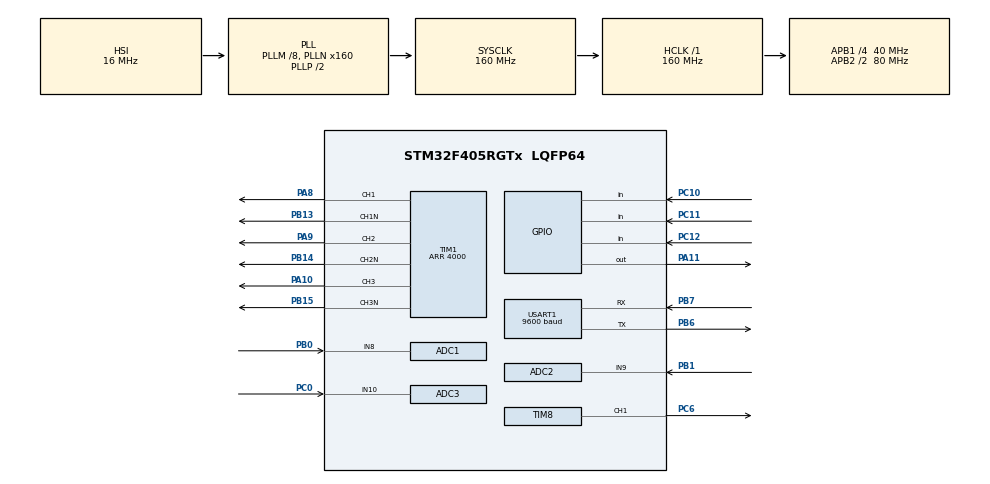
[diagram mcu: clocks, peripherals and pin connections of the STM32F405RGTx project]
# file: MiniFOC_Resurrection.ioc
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ADC1.Channel-1\#ChannelRegularConversion=ADC_CHANNEL_8
ADC1.DMAContinuousRequests=ENABLE
ADC1.DiscontinuousConvMode=DISABLE
ADC1.ExternalTrigConv=ADC_EXTERNALTRIGCONV_T8_CC1
ADC1.Mode=ADC_TRIPLEMODE_REGSIMULT
ADC1.NbrOfConversion=1
ADC1.NbrOfConversionFlag=1
ADC1.Rank-1\#ChannelRegularConversion=1
ADC1.SamplingTime-1\#ChannelRegularConversion=ADC_SAMPLETIME_28CYCLES
ADC1.ScanConvMode=ENABLE
ADC1.master=1
ADC2.Channel-1\#ChannelRegularConversion=ADC_CHANNEL_9
ADC2.DMAAccessMode=ADC_DMAACCESSMODE_1
ADC2.DMAContinuousRequests=ENABLE
ADC2.Mode=ADC_TRIPLEMODE_REGSIMULT
ADC2.NbrOfConversionFlag=1
ADC2.Rank-1\#ChannelRegularConversion=1
ADC2.SamplingTime-1\#ChannelRegularConversion=ADC_SAMPLETIME_28CYCLES
ADC2.ScanConvMode=ENABLE
ADC3.Channel-4\#ChannelRegularConversion=ADC_CHANNEL_10
ADC3.DMAAccessMode=ADC_DMAACCESSMODE_1
ADC3.DMAContinuousRequests=ENABLE
ADC3.Mode=ADC_TRIPLEMODE_REGSIMULT
ADC3.NbrOfConversionFlag=1
ADC3.Rank-4\#ChannelRegularConversion=1
ADC3.SamplingTime-4\#ChannelRegularConversion=ADC_SAMPLETIME_28CYCLES
ADC3.ScanConvMode=ENABLE
Dma.ADC1.0.Direction=DMA_PERIPH_TO_MEMORY
Dma.ADC1.0.FIFOMode=DMA_FIFOMODE_DISABLE
Dma.ADC1.0.Instance=DMA2_Stream0
Dma.ADC1.0.MemDataAlignment=DMA_MDATAALIGN_HALFWORD
Dma.ADC1.0.MemInc=DMA_MINC_ENABLE
Dma.ADC1.0.Mode=DMA_CIRCULAR
Dma.ADC1.0.PeriphDataAlignment=DMA_PDATAALIGN_HALFWORD
Dma.ADC1.0.PeriphInc=DMA_PINC_DISABLE
Dma.ADC1.0.Priority=DMA_PRIORITY_HIGH
Dma.ADC2.1.Direction=DMA_PERIPH_TO_MEMORY
Dma.ADC2.1.FIFOMode=DMA_FIFOMODE_DISABLE
Dma.ADC2.1.Instance=DMA2_Stream2
Dma.ADC2.1.MemDataAlignment=DMA_MDATAALIGN_HALFWORD
Dma.ADC2.1.MemInc=DMA_MINC_ENABLE
Dma.ADC2.1.Mode=DMA_CIRCULAR
Dma.ADC2.1.PeriphDataAlignment=DMA_PDATAALIGN_HALFWORD
Dma.ADC2.1.PeriphInc=DMA_PINC_DISABLE
Dma.ADC2.1.Priority=DMA_PRIORITY_HIGH
Dma.ADC3.2.Direction=DMA_PERIPH_TO_MEMORY
Dma.ADC3.2.FIFOMode=DMA_FIFOMODE_DISABLE
Dma.ADC3.2.Instance=DMA2_Stream1
Dma.ADC3.2.MemDataAlignment=DMA_MDATAALIGN_HALFWORD
Dma.ADC3.2.MemInc=DMA_MINC_ENABLE
Dma.ADC3.2.Mode=DMA_CIRCULAR
Dma.ADC3.2.PeriphDataAlignment=DMA_PDATAALIGN_HALFWORD
Dma.ADC3.2.PeriphInc=DMA_PINC_DISABLE
Dma.ADC3.2.Priority=DMA_PRIORITY_HIGH
Dma.Request0=ADC1
Dma.Request1=ADC2
Dma.Request2=ADC3
Mcu.Family=STM32F4
Mcu.Name=STM32F405RGTx
Mcu.Package=LQFP64
NVIC.DMA2_Stream0_IRQn=true\:0\:0\:false\:false\:true\:false\:true\:true
NVIC.DMA2_Stream1_IRQn=true\:0\:0\:false\:false\:true\:false\:true\:true
NVIC.DMA2_Stream2_IRQn=true\:0\:0\:false\:false\:true\:false\:true\:true
NVIC.PriorityGroup=NVIC_PRIORITYGROUP_4
NVIC.TIM1_TRG_COM_TIM11_IRQn=true\:0\:0\:false\:false\:true\:true\:true\:true
NVIC.TIM8_CC_IRQn=true\:0\:0\:false\:false\:true\:true\:true\:true
NVIC.TIM8_TRG_COM_TIM14_IRQn=true\:0\:0\:false\:false\:true\:true\:true\:true
NVIC.USART1_IRQn=true\:0\:0\:false\:false\:true\:true\:true\:true
PA10.Signal=S_TIM1_CH3
PA11.Signal=GPIO_Output
PA13.Mode=Serial_Wire
PA13.Signal=SYS_JTMS-SWDIO
PA14.Mode=Serial_Wire
PA14.Signal=SYS_JTCK-SWCLK
PA8.Signal=S_TIM1_CH1
PA9.Signal=S_TIM1_CH2
PB0.Signal=ADCx_IN8
PB1.Signal=ADCx_IN9
PB13.Mode=PWM Generation1 CH1 CH1N
PB13.Signal=TIM1_CH1N
PB14.Mode=PWM Generation2 CH2 CH2N
PB14.Signal=TIM1_CH2N
PB15.Mode=PWM Generation3 CH3 CH3N
PB15.Signal=TIM1_CH3N
PB6.Mode=Asynchronous
PB6.Signal=USART1_TX
PB7.Mode=Asynchronous
PB7.Signal=USART1_RX
PC0.Signal=ADCx_IN10
PC10.Signal=GPIO_Input
PC11.Signal=GPIO_Input
PC12.Signal=GPIO_Input
PC6.Signal=S_TIM8_CH1
PH0-OSC_IN.Mode=HSE-External-Oscillator
PH0-OSC_IN.Signal=RCC_OSC_IN
PH1-OSC_OUT.Mode=HSE-External-Oscillator
PH1-OSC_OUT.Signal=RCC_OSC_OUT
ProjectManager.HeapSize=0x200
ProjectManager.StackSize=0x400
ProjectManager.TargetToolchain=STM32CubeIDE
RCC.48MHZClocksFreq_Value=80000000
RCC.AHBFreq_Value=160000000
RCC.APB1CLKDivider=RCC_HCLK_DIV4
RCC.APB1Freq_Value=40000000
RCC.APB1TimFreq_Value=80000000
RCC.APB2CLKDivider=RCC_HCLK_DIV2
RCC.APB2Freq_Value=80000000
RCC.APB2TimFreq_Value=160000000
RCC.CortexFreq_Value=160000000
RCC.HCLKFreq_Value=160000000
RCC.HSE_VALUE=8000000
RCC.HSI_VALUE=16000000
RCC.LSE_VALUE=32768
RCC.PLLM=8
RCC.PLLN=160
RCC.SYSCLKFreq_VALUE=160000000
RCC.SYSCLKSource=RCC_SYSCLKSOURCE_PLLCLK
RCC.VCOOutputFreq_Value=320000000
SH.ADCx_IN10.0=ADC3_IN10,IN10
SH.ADCx_IN8.0=ADC1_IN8,IN8
SH.ADCx_IN9.0=ADC2_IN9,IN9
SH.S_TIM1_CH1.0=TIM1_CH1,PWM Generation1 CH1 CH1N
SH.S_TIM1_CH2.0=TIM1_CH2,PWM Generation2 CH2 CH2N
SH.S_TIM1_CH3.0=TIM1_CH3,PWM Generation3 CH3 CH3N
SH.S_TIM8_CH1.0=TIM8_CH1,PWM Generation1 CH1
TIM1.Channel-PWM\ Generation1\ CH1\ CH1N=TIM_CHANNEL_1
TIM1.Channel-PWM\ Generation2\ CH2\ CH2N=TIM_CHANNEL_2
TIM1.Channel-PWM\ Generation3\ CH3\ CH3N=TIM_CHANNEL_3
TIM1.CounterMode=TIM_COUNTERMODE_CENTERALIGNED1
TIM1.DeadTime=100
TIM1.Period=4000
TIM1.Pulse-PWM\ Generation1\ CH1\ CH1N=2000
TIM1.Pulse-PWM\ Generation2\ CH2\ CH2N=2000
TIM1.Pulse-PWM\ Generation3\ CH3\ CH3N=2000
TIM1.RepetitionCounter=1
TIM1.TIM_MasterOutputTrigger=TIM_TRGO_UPDATE
TIM1.TIM_MasterSlaveMode=TIM_MASTERSLAVEMODE_ENABLE
TIM2.Prescaler=800
TIM8.AutoReloadPreload=TIM_AUTORELOAD_PRELOAD_ENABLE
TIM8.AutomaticOutput=TIM_AUTOMATICOUTPUT_DISABLE
TIM8.Channel-PWM\ Generation1\ CH1=TIM_CHANNEL_1
TIM8.OCMode_PWM-PWM\ Generation1\ CH1=TIM_OCMODE_PWM2
TIM8.Pulse-PWM\ Generation1\ CH1=4000
TIM8.RepetitionCounter=1
TIM8.TIM_MasterOutputTrigger=TIM_TRGO_RESET
TIM8.TIM_MasterSlaveMode=TIM_MASTERSLAVEMODE_DISABLE
USART1.BaudRate=9600
USART1.VirtualMode=VM_ASYNC
VP_TIM1_VS_ClockSourceINT.Mode=Internal
VP_TIM2_VS_ClockSourceINT.Mode=Internal
VP_TIM8_VS_ClockSourceINT.Mode=Internal
VP_TIM8_VS_ClockSourceITR.Mode=TriggerSource_ITR0
VP_TIM8_VS_ControllerModeReset.Mode=Reset Mode
board=custom

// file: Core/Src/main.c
/* USER CODE BEGIN Header */
/**
 ******************************************************************************
 * @file           : main.c
 * @brief          : Main program body
 ******************************************************************************
 * @attention
 *
 * Copyright (c) 2024 STMicroelectronics.
 * All rights reserved.
 *
 * This software is licensed under terms that can be found in the LICENSE file
 * in the root directory of this software component.
 * If no LICENSE file comes with this software, it is provided AS-IS.
 *
 ******************************************************************************
 */
/* USER CODE END Header */
#include "main.h"

/* USER CODE BEGIN Includes */

#include "math.h"
//#include "stdio.h"

#define PI	3.14159265f

#define s8	int8_t
#define u8	uint8_t
#define u16	uint16_t
#define s32	int32_t
#define u32	uint32_t
#define false 0
#define true 1

#define LIMIT(val, min, max)	(val > max ? max : (val < min) ? min : val)

/* USER CODE END Includes */

ADC_HandleTypeDef hadc1;
ADC_HandleTypeDef hadc2;
ADC_HandleTypeDef hadc3;
DMA_HandleTypeDef hdma_adc1;
DMA_HandleTypeDef hdma_adc2;
DMA_HandleTypeDef hdma_adc3;

TIM_HandleTypeDef htim1;
TIM_HandleTypeDef htim2;
TIM_HandleTypeDef htim8;

UART_HandleTypeDef huart1;

/* USER CODE BEGIN PV */

u16 adcResult[3] = { 0, 0, 0 };
volatile s32 throttle = 0;

// FOC stuff
volatile float targetCurrent = 0;
volatile float vd = 0;
volatile float vq = 0;
volatile float iTermD = 0; // Integrator values for PI controllers
volatile float iTermQ = 0;

volatile float eRPS = 0;
volatile u8 hallError = false;
volatile u8 interpolating = false;
volatile s8 direction = 0;

volatile int lastHalls = 0;

//volatile float rotorAngle = 0;
volatile int commutationTimer = 0;

volatile float id, iq;

volatile int focLoopTimer = 0;

/* USER CODE END PV */

void SystemClock_Config(void);
static void MX_GPIO_Init(void);
static void MX_DMA_Init(void);
static void MX_TIM1_Init(void);
static void MX_USART1_UART_Init(void);
static void MX_ADC3_Init(void);
static void MX_TIM2_Init(void);
static void MX_ADC1_Init(void);
static void MX_ADC2_Init(void);
static void MX_TIM8_Init(void);

/* USER CODE BEGIN 0 */

u8 rxData[10];

void HAL_UART_RxCpltCallback(UART_HandleTypeDef *huart)
{
	//uint8_t test = '1';
	//HAL_UART_Transmit(&huart1, rxData, 1, HAL_MAX_DELAY);

	HAL_UART_Receive_IT(huart, rxData, 1);
}

float DegToRads(float deg)
{
	return deg/180.0f*PI;
}

float Limit(float value, float min, float max)
{
	if (value < min) return min;
	if (value > max) return max;
	return value;
}

void HAL_ADC_ConvCpltCallback(ADC_HandleTypeDef* hadc)
{
	int start = TIM8->CNT; // Timing this loop

	// Statically allocate variables for efficiency
	static float rotorAngle, ia, ib, ic, iAlpha, iBeta, cosAngle, sinAngle, Ki, dError, qError, pTermD, pTermQ, vAlpha, vBeta, va, vb, vc;
	static s32 shuntB, shuntC;

	// Conversion Complete & DMA Transfer Complete As Well
	shuntC = (s32)adcResult[0]-2050; // Should be 2048 but seems to have small offset
	shuntB = (s32)adcResult[1]-2050;
	throttle = adcResult[2]>>4;

	// Rotor angle estimation
	// Hall sensor transitions, 1 means forwards (angle increasing), -1 means backwards, 0 means invalid
	static s8 transitions[64] =
			// 000 001 010 011 100 101 110 111 <- Low bits (last hall)
	{		0,  0,  0,  0,  0,  0,  0,  0,  // 000 <- high bits (new hall)
			0,  0,  0, -1,  0,  1,  0,  0,  // 001
			0,  0,  0,  1,  0,  0, -1,  0,  // 010
			0,  1, -1,  0,  0,  0,  0,  0,  // 011
			0,  0,  0,  0,  0, -1,  1,  0,  // 100
			0, -1,  0,  0,  1,  0,  0,  0,  // 101
			0,  0,  1,  0, -1,  0,  0,  0,  // 110
			0,  0,  0,  0,  0,  0,  0,  0 };// 111

	//u16 halls = (GPIO_ReadInputData(GPIOC) & 0b1110000000000)>>10; // Sensor order is CBA
	int halls = (GPIOC->IDR & 0b1110000000000)>>10; // Sensor order is CBA
	if (halls != lastHalls)
	{
		commutationTimer = TIM2->CNT;
		TIM2->CNT = 0;

		u8 index = (halls<<3)+lastHalls;
		direction = transitions[index];

		interpolating = false;
		if (commutationTimer < 5000 && direction != 0)
		{
			interpolating = true;
			// commutationTimer counts at 100Khz, so 100000 / commutationTimer gives hall change frequency, which is 6x eRPS
			if (commutationTimer > 0) eRPS = 16667.0f/(float)commutationTimer;
		}
		else
			eRPS = 0;

		if (halls == 0b000 || halls == 0b111) // Error
			hallError = true;
		else
			hallError = false;

		lastHalls = halls;
	}

	// Lookup table for halls:  000    001    010    011    100    101    110    111 (in binary order)
	//static float angles[8] = {  0.0f,300.0f, 60.0f,  0.0f,180.0f,240.0f,120.0f,  0.0f }; // This is the old MiniFOC, maybe wrong?
	//static float angles[8] = {  0.0f, 240.0f, 0.0f,300.0f,120.0f,180.0f, 60.0f,  0.0f };

	//static float angles[8] = {  0.0f,240.0f,120.0f,180.0f,  0.0f,300.0f, 60.0f,  0.0f }; // OK WAIT, this one maybe has B and C mirrored
	static float angles[8] = {  0.0f,120.0f,240.0f,180.0f,  0.0f, 60.0f,300.0f,  0.0f };

	rotorAngle = angles[halls];

	if (TIM2->CNT > commutationTimer*2) interpolating = false; // Stalled rotor maybe

	if (interpolating && commutationTimer > 0)
		rotorAngle = angles[halls]+(60.0f*(float)TIM2->CNT/(float)commutationTimer-30.0f)*direction;

	// Simple sinusoidal commutation
	/*
	float statorAngle = rotorAngle - 90.0f; // Can set this to +/-90 to change direction
	TIM1->CCR3 = (2000.0f + 2.0f*throttle*cosf(DegToRads(statorAngle))); // Phase A connected to OC3
	TIM1->CCR2 = (2000.0f + 2.0f*throttle*cosf(DegToRads(statorAngle-120)));
	TIM1->CCR1 = (2000.0f + 2.0f*throttle*cosf(DegToRads(statorAngle+120))); // Phase C connected to OC1 - just the way routing worked out
	return;
	*/

	// Field Oriented Control

	// Get phase currents
	ib = (float)shuntB*0.0268f; // Magic number calculated to convert ADC units into amps
	ic = (float)shuntC*0.0268f;
	ia = -ib-ic;

	// Clarke transform converts current vectors in ABC reference frame into XY reference frame
	iAlpha = 0.6666f * (ia - 0.5f*ib - 0.5f*ic); // Premultiplier is 2/3 for normal Clarke transform or sqrt(2/3) for power invariant, not sure which I should use..
	iBeta = 0.6666f * (0.866025f*ib - 0.866025f*ic); // 0.866025 is sqrt(3)/2, or cos(30)

	// Precalculate sin and cos for reuse
	cosAngle = cosf(rotorAngle*0.01745f); // 0.01745 converts deg to rad
	sinAngle = sinf(rotorAngle*0.01745f);

	// Park transform, basically 2D transformation matrix
	id = iAlpha * cosAngle + iBeta * sinAngle;
	iq = -iAlpha * sinAngle + iBeta * cosAngle;

	// Do PI controllers, id target of zero and iq target being the desired motor current, outputs being voltages in DQ reference frame
	// TODO: Tune K factors, maybe proportional to supply voltage?
	//float Kp = 1.0f;
	Ki = 0.001f;
	dError = 0-id;
	qError = targetCurrent-iq;
	pTermD = 0;//dError * Kp;
	pTermQ = 0;//qError * Kp;
	iTermD = LIMIT(iTermD + dError * Ki*0.1f, -1.0f, 1.0f); // Trying lower Ki for D term
	iTermQ = LIMIT(iTermQ + qError * Ki, -1.0f, 1.0f);

	vd = pTermD + iTermD;
	vq = pTermQ + iTermQ;

	// Inverse Park then Clarke transforms
	vAlpha = vd*cosAngle - vq*sinAngle;
	vBeta = vd*sinAngle + vq*cosAngle;
	va = vAlpha;
	vb = -0.5f*vAlpha + 0.866025f*vBeta; // 0.866025 is cos(30)
	vc = -0.5f*vAlpha - 0.866025f*vBeta; // And 0.5 is sin(30)

	// Update 3ph bridge
	TIM1->CCR3 = 2000.0f + 500.0f*va; // Phase A connected to OC3
	TIM1->CCR2 = 2000.0f + 500.0f*vb;
	TIM1->CCR1 = 2000.0f + 500.0f*vc; // Phase C connected to OC1 - just the way routing worked out

	focLoopTimer = TIM8->CNT - start;

}

/* USER CODE END 0 */

int main(void)
{

  /* MCU Configuration--------------------------------------------------------*/

  /* Reset of all peripherals, Initializes the Flash interface and the Systick. */
  HAL_Init();

  /* Configure the system clock */
  SystemClock_Config();

  /* Initialize all configured peripherals */
  MX_GPIO_Init();
  MX_DMA_Init();
  MX_TIM1_Init();
  MX_USART1_UART_Init();
  MX_ADC3_Init();
  MX_TIM2_Init();
  MX_ADC1_Init();
  MX_ADC2_Init();
  MX_TIM8_Init();

  /* Infinite loop */
  /* USER CODE BEGIN WHILE */

	HAL_UART_Receive_IT(&huart1, rxData, 1);

	//ADC_Common_TypeDef* tmpADC_Common = ADC_COMMON_REGISTER(hadc);

	//HAL_DMA_Start_IT(hadc1.DMA_Handle, (uint32_t)&tmpADC_Common->CDR, (u32)adcResult, 3);

	HAL_ADC_Start(&hadc3);
	HAL_ADC_Start(&hadc2);
	HAL_ADCEx_MultiModeStart_DMA(&hadc1, (u32*)adcResult, 3);

	HAL_TIM_Base_Start(&htim2);

	HAL_TIM_Base_Start(&htim8);
	HAL_TIM_PWM_Start(&htim8, TIM_CHANNEL_1);

	HAL_TIM_Base_Start(&htim1);
	HAL_TIM_PWM_Start(&htim1, TIM_CHANNEL_1);
	HAL_TIM_PWM_Start(&htim1, TIM_CHANNEL_2);
	HAL_TIM_PWM_Start(&htim1, TIM_CHANNEL_3);
	HAL_TIMEx_PWMN_Start(&htim1, TIM_CHANNEL_1);
	HAL_TIMEx_PWMN_Start(&htim1, TIM_CHANNEL_2);
	HAL_TIMEx_PWMN_Start(&htim1, TIM_CHANNEL_3);

	HAL_GPIO_WritePin(GPIOA, GPIO_PIN_11, 1); // Enable pin on DRV chip

	u32 lastTicks = HAL_GetTick();
	while (1)
	{
    /* USER CODE END WHILE */

    /* USER CODE BEGIN 3 */

		HAL_Delay(1);

		//HAL_ADC_Start(&hadc3); // Start ADC
		//HAL_ADC_PollForConversion(&hadc3, HAL_MAX_DELAY); // Wait for completion
		//float throttle = HAL_ADC_GetValue(&hadc3)>>4; // Assign value and scale 0-255

		// TODO: PI control loop for speed vs current
		//targetCurrent = (float)throttle/256.0f;
		targetCurrent = (float)throttle/60.0f;

		u32 now = HAL_GetTick();
		if (lastTicks + 10 < now)
		{
			lastTicks = now;

			u8 txData[4];
			txData[0] = 128; // Indicates start of scope data block
			txData[1] = 100.0f+id*10.0f;//throttle;//20 + 40 * HAL_GPIO_ReadPin(GPIOC, GPIO_PIN_10);
			txData[2] = 100.0f+iq*10.0f;//(shuntB+2050)>>4;//80 + 40 * HAL_GPIO_ReadPin(GPIOC, GPIO_PIN_11);
			txData[3] = 100.0f+targetCurrent*10.0f;//140 + 40 * HAL_GPIO_ReadPin(GPIOC, GPIO_PIN_12);

			// Hall sensors
			//txData[1] = 20 + 40 * HAL_GPIO_ReadPin(GPIOC, GPIO_PIN_10);
			//txData[2] = 80 + 40 * HAL_GPIO_ReadPin(GPIOC, GPIO_PIN_11);
			//txData[3] = 140 + 40 * HAL_GPIO_ReadPin(GPIOC, GPIO_PIN_12);

			//txData[3] = focLoopTimer/100;

			HAL_UART_Transmit(&huart1, (const u8*)&txData, 4, HAL_MAX_DELAY);
		}
	}
  /* USER CODE END 3 */
}

void SystemClock_Config(void)
{
  RCC_OscInitTypeDef RCC_OscInitStruct = {0};
  RCC_ClkInitTypeDef RCC_ClkInitStruct = {0};

  /** Configure the main internal regulator output voltage
  */
  __HAL_RCC_PWR_CLK_ENABLE();
  __HAL_PWR_VOLTAGESCALING_CONFIG(PWR_REGULATOR_VOLTAGE_SCALE1);

  /** Initializes the RCC Oscillators according to the specified parameters
  * in the RCC_OscInitTypeDef structure.
  */
  RCC_OscInitStruct.OscillatorType = RCC_OSCILLATORTYPE_HSI;
  RCC_OscInitStruct.HSIState = RCC_HSI_ON;
  RCC_OscInitStruct.HSICalibrationValue = RCC_HSICALIBRATION_DEFAULT;
  RCC_OscInitStruct.PLL.PLLState = RCC_PLL_ON;
  RCC_OscInitStruct.PLL.PLLSource = RCC_PLLSOURCE_HSI;
  RCC_OscInitStruct.PLL.PLLM = 8;
  RCC_OscInitStruct.PLL.PLLN = 160;
  RCC_OscInitStruct.PLL.PLLP = RCC_PLLP_DIV2;
  RCC_OscInitStruct.PLL.PLLQ = 4;
  if (HAL_RCC_OscConfig(&RCC_OscInitStruct) != HAL_OK)
  {
    Error_Handler();
  }

  /** Initializes the CPU, AHB and APB buses clocks
  */
  RCC_ClkInitStruct.ClockType = RCC_CLOCKTYPE_HCLK|RCC_CLOCKTYPE_SYSCLK
                              |RCC_CLOCKTYPE_PCLK1|RCC_CLOCKTYPE_PCLK2;
  RCC_ClkInitStruct.SYSCLKSource = RCC_SYSCLKSOURCE_PLLCLK;
  RCC_ClkInitStruct.AHBCLKDivider = RCC_SYSCLK_DIV1;
  RCC_ClkInitStruct.APB1CLKDivider = RCC_HCLK_DIV4;
  RCC_ClkInitStruct.APB2CLKDivider = RCC_HCLK_DIV2;

  if (HAL_RCC_ClockConfig(&RCC_ClkInitStruct, FLASH_LATENCY_5) != HAL_OK)
  {
    Error_Handler();
  }
}

static void MX_ADC1_Init(void)
{

  ADC_MultiModeTypeDef multimode = {0};
  ADC_ChannelConfTypeDef sConfig = {0};

  /** Configure the global features of the ADC (Clock, Resolution, Data Alignment and number of conversion)
  */
  hadc1.Instance = ADC1;
  hadc1.Init.ClockPrescaler = ADC_CLOCK_SYNC_PCLK_DIV4;
  hadc1.Init.Resolution = ADC_RESOLUTION_12B;
  hadc1.Init.ScanConvMode = ENABLE;
  hadc1.Init.ContinuousConvMode = DISABLE;
  hadc1.Init.DiscontinuousConvMode = DISABLE;
  hadc1.Init.ExternalTrigConvEdge = ADC_EXTERNALTRIGCONVEDGE_RISING;
  hadc1.Init.ExternalTrigConv = ADC_EXTERNALTRIGCONV_T8_CC1;
  hadc1.Init.DataAlign = ADC_DATAALIGN_RIGHT;
  hadc1.Init.NbrOfConversion = 1;
  hadc1.Init.DMAContinuousRequests = ENABLE;
  hadc1.Init.EOCSelection = ADC_EOC_SINGLE_CONV;
  if (HAL_ADC_Init(&hadc1) != HAL_OK)
  {
    Error_Handler();
  }

  /** Configure the ADC multi-mode
  */
  multimode.Mode = ADC_TRIPLEMODE_REGSIMULT;
  multimode.DMAAccessMode = ADC_DMAACCESSMODE_1;
  multimode.TwoSamplingDelay = ADC_TWOSAMPLINGDELAY_5CYCLES;
  if (HAL_ADCEx_MultiModeConfigChannel(&hadc1, &multimode) != HAL_OK)
  {
    Error_Handler();
  }

  /** Configure for the selected ADC regular channel its corresponding rank in the sequencer and its sample time.
  */
  sConfig.Channel = ADC_CHANNEL_8;
  sConfig.Rank = 1;
  sConfig.SamplingTime = ADC_SAMPLETIME_28CYCLES;
  if (HAL_ADC_ConfigChannel(&hadc1, &sConfig) != HAL_OK)
  {
    Error_Handler();
  }

}

static void MX_ADC2_Init(void)
{

  ADC_ChannelConfTypeDef sConfig = {0};

  /** Configure the global features of the ADC (Clock, Resolution, Data Alignment and number of conversion)
  */
  hadc2.Instance = ADC2;
  hadc2.Init.ClockPrescaler = ADC_CLOCK_SYNC_PCLK_DIV4;
  hadc2.Init.Resolution = ADC_RESOLUTION_12B;
  hadc2.Init.ScanConvMode = ENABLE;
  hadc2.Init.ContinuousConvMode = DISABLE;
  hadc2.Init.DiscontinuousConvMode = DISABLE;
  hadc2.Init.DataAlign = ADC_DATAALIGN_RIGHT;
  hadc2.Init.NbrOfConversion = 1;
  hadc2.Init.DMAContinuousRequests = ENABLE;
  hadc2.Init.EOCSelection = ADC_EOC_SINGLE_CONV;
  if (HAL_ADC_Init(&hadc2) != HAL_OK)
  {
    Error_Handler();
  }

  /** Configure for the selected ADC regular channel its corresponding rank in the sequencer and its sample time.
  */
  sConfig.Channel = ADC_CHANNEL_9;
  sConfig.Rank = 1;
  sConfig.SamplingTime = ADC_SAMPLETIME_28CYCLES;
  if (HAL_ADC_ConfigChannel(&hadc2, &sConfig) != HAL_OK)
  {
    Error_Handler();
  }

}

static void MX_ADC3_Init(void)
{

  ADC_ChannelConfTypeDef sConfig = {0};

  /** Configure the global features of the ADC (Clock, Resolution, Data Alignment and number of conversion)
  */
  hadc3.Instance = ADC3;
  hadc3.Init.ClockPrescaler = ADC_CLOCK_SYNC_PCLK_DIV4;
  hadc3.Init.Resolution = ADC_RESOLUTION_12B;
  hadc3.Init.ScanConvMode = ENABLE;
  hadc3.Init.ContinuousConvMode = DISABLE;
  hadc3.Init.DiscontinuousConvMode = DISABLE;
  hadc3.Init.DataAlign = ADC_DATAALIGN_RIGHT;
  hadc3.Init.NbrOfConversion = 1;
  hadc3.Init.DMAContinuousRequests = ENABLE;
  hadc3.Init.EOCSelection = ADC_EOC_SINGLE_CONV;
  if (HAL_ADC_Init(&hadc3) != HAL_OK)
  {
    Error_Handler();
  }

  /** Configure for the selected ADC regular channel its corresponding rank in the sequencer and its sample time.
  */
  sConfig.Channel = ADC_CHANNEL_10;
  sConfig.Rank = 1;
  sConfig.SamplingTime = ADC_SAMPLETIME_28CYCLES;
  if (HAL_ADC_ConfigChannel(&hadc3, &sConfig) != HAL_OK)
  {
    Error_Handler();
  }

}

static void MX_TIM1_Init(void)
{

  TIM_ClockConfigTypeDef sClockSourceConfig = {0};
  TIM_MasterConfigTypeDef sMasterConfig = {0};
  TIM_OC_InitTypeDef sConfigOC = {0};
  TIM_BreakDeadTimeConfigTypeDef sBreakDeadTimeConfig = {0};

  htim1.Instance = TIM1;
  htim1.Init.Prescaler = 0;
  htim1.Init.CounterMode = TIM_COUNTERMODE_CENTERALIGNED1;
  htim1.Init.Period = 4000;
  htim1.Init.ClockDivision = TIM_CLOCKDIVISION_DIV1;
  htim1.Init.RepetitionCounter = 1;
  htim1.Init.AutoReloadPreload = TIM_AUTORELOAD_PRELOAD_DISABLE;
  if (HAL_TIM_Base_Init(&htim1) != HAL_OK)
  {
    Error_Handler();
  }
  sClockSourceConfig.ClockSource = TIM_CLOCKSOURCE_INTERNAL;
  if (HAL_TIM_ConfigClockSource(&htim1, &sClockSourceConfig) != HAL_OK)
  {
    Error_Handler();
  }
  if (HAL_TIM_PWM_Init(&htim1) != HAL_OK)
  {
    Error_Handler();
  }
  sMasterConfig.MasterOutputTrigger = TIM_TRGO_UPDATE;
  sMasterConfig.MasterSlaveMode = TIM_MASTERSLAVEMODE_ENABLE;
  if (HAL_TIMEx_MasterConfigSynchronization(&htim1, &sMasterConfig) != HAL_OK)
  {
    Error_Handler();
  }
  sConfigOC.OCMode = TIM_OCMODE_PWM1;
  sConfigOC.Pulse = 2000;
  sConfigOC.OCPolarity = TIM_OCPOLARITY_HIGH;
  sConfigOC.OCNPolarity = TIM_OCNPOLARITY_HIGH;
  sConfigOC.OCFastMode = TIM_OCFAST_DISABLE;
  sConfigOC.OCIdleState = TIM_OCIDLESTATE_RESET;
  sConfigOC.OCNIdleState = TIM_OCNIDLESTATE_RESET;
  if (HAL_TIM_PWM_ConfigChannel(&htim1, &sConfigOC, TIM_CHANNEL_1) != HAL_OK)
  {
    Error_Handler();
  }
  if (HAL_TIM_PWM_ConfigChannel(&htim1, &sConfigOC, TIM_CHANNEL_2) != HAL_OK)
  {
    Error_Handler();
  }
  if (HAL_TIM_PWM_ConfigChannel(&htim1, &sConfigOC, TIM_CHANNEL_3) != HAL_OK)
  {
    Error_Handler();
  }
  sBreakDeadTimeConfig.OffStateRunMode = TIM_OSSR_DISABLE;
  sBreakDeadTimeConfig.OffStateIDLEMode = TIM_OSSI_DISABLE;
  sBreakDeadTimeConfig.LockLevel = TIM_LOCKLEVEL_OFF;
  sBreakDeadTimeConfig.DeadTime = 100;
  sBreakDeadTimeConfig.BreakState = TIM_BREAK_DISABLE;
  sBreakDeadTimeConfig.BreakPolarity = TIM_BREAKPOLARITY_HIGH;
  sBreakDeadTimeConfig.AutomaticOutput = TIM_AUTOMATICOUTPUT_DISABLE;
  if (HAL_TIMEx_ConfigBreakDeadTime(&htim1, &sBreakDeadTimeConfig) != HAL_OK)
  {
    Error_Handler();
  }
  HAL_TIM_MspPostInit(&htim1);

}

static void MX_TIM2_Init(void)
{

  TIM_ClockConfigTypeDef sClockSourceConfig = {0};
  TIM_MasterConfigTypeDef sMasterConfig = {0};

  htim2.Instance = TIM2;
  htim2.Init.Prescaler = 800;
  htim2.Init.CounterMode = TIM_COUNTERMODE_UP;
  htim2.Init.Period = 4294967295;
  htim2.Init.ClockDivision = TIM_CLOCKDIVISION_DIV1;
  htim2.Init.AutoReloadPreload = TIM_AUTORELOAD_PRELOAD_DISABLE;
  if (HAL_TIM_Base_Init(&htim2) != HAL_OK)
  {
    Error_Handler();
  }
  sClockSourceConfig.ClockSource = TIM_CLOCKSOURCE_INTERNAL;
  if (HAL_TIM_ConfigClockSource(&htim2, &sClockSourceConfig) != HAL_OK)
  {
    Error_Handler();
  }
  sMasterConfig.MasterOutputTrigger = TIM_TRGO_RESET;
  sMasterConfig.MasterSlaveMode = TIM_MASTERSLAVEMODE_DISABLE;
  if (HAL_TIMEx_MasterConfigSynchronization(&htim2, &sMasterConfig) != HAL_OK)
  {
    Error_Handler();
  }

}

static void MX_TIM8_Init(void)
{

  TIM_ClockConfigTypeDef sClockSourceConfig = {0};
  TIM_SlaveConfigTypeDef sSlaveConfig = {0};
  TIM_MasterConfigTypeDef sMasterConfig = {0};
  TIM_OC_InitTypeDef sConfigOC = {0};
  TIM_BreakDeadTimeConfigTypeDef sBreakDeadTimeConfig = {0};

  htim8.Instance = TIM8;
  htim8.Init.Prescaler = 0;
  htim8.Init.CounterMode = TIM_COUNTERMODE_UP;
  htim8.Init.Period = 65535;
  htim8.Init.ClockDivision = TIM_CLOCKDIVISION_DIV1;
  htim8.Init.RepetitionCounter = 1;
  htim8.Init.AutoReloadPreload = TIM_AUTORELOAD_PRELOAD_ENABLE;
  if (HAL_TIM_Base_Init(&htim8) != HAL_OK)
  {
    Error_Handler();
  }
  sClockSourceConfig.ClockSource = TIM_CLOCKSOURCE_INTERNAL;
  if (HAL_TIM_ConfigClockSource(&htim8, &sClockSourceConfig) != HAL_OK)
  {
    Error_Handler();
  }
  if (HAL_TIM_PWM_Init(&htim8) != HAL_OK)
  {
    Error_Handler();
  }
  sSlaveConfig.SlaveMode = TIM_SLAVEMODE_RESET;
  sSlaveConfig.InputTrigger = TIM_TS_ITR0;
  if (HAL_TIM_SlaveConfigSynchro(&htim8, &sSlaveConfig) != HAL_OK)
  {
    Error_Handler();
  }
  sMasterConfig.MasterOutputTrigger = TIM_TRGO_RESET;
  sMasterConfig.MasterSlaveMode = TIM_MASTERSLAVEMODE_DISABLE;
  if (HAL_TIMEx_MasterConfigSynchronization(&htim8, &sMasterConfig) != HAL_OK)
  {
    Error_Handler();
  }
  sConfigOC.OCMode = TIM_OCMODE_PWM2;
  sConfigOC.Pulse = 4000;
  sConfigOC.OCPolarity = TIM_OCPOLARITY_HIGH;
  sConfigOC.OCNPolarity = TIM_OCNPOLARITY_HIGH;
  sConfigOC.OCFastMode = TIM_OCFAST_DISABLE;
  sConfigOC.OCIdleState = TIM_OCIDLESTATE_RESET;
  sConfigOC.OCNIdleState = TIM_OCNIDLESTATE_RESET;
  if (HAL_TIM_PWM_ConfigChannel(&htim8, &sConfigOC, TIM_CHANNEL_1) != HAL_OK)
  {
    Error_Handler();
  }
  sBreakDeadTimeConfig.OffStateRunMode = TIM_OSSR_DISABLE;
  sBreakDeadTimeConfig.OffStateIDLEMode = TIM_OSSI_DISABLE;
  sBreakDeadTimeConfig.LockLevel = TIM_LOCKLEVEL_OFF;
  sBreakDeadTimeConfig.DeadTime = 0;
  sBreakDeadTimeConfig.BreakState = TIM_BREAK_DISABLE;
  sBreakDeadTimeConfig.BreakPolarity = TIM_BREAKPOLARITY_HIGH;
  sBreakDeadTimeConfig.AutomaticOutput = TIM_AUTOMATICOUTPUT_DISABLE;
  if (HAL_TIMEx_ConfigBreakDeadTime(&htim8, &sBreakDeadTimeConfig) != HAL_OK)
  {
    Error_Handler();
  }
  HAL_TIM_MspPostInit(&htim8);

}

static void MX_USART1_UART_Init(void)
{

  huart1.Instance = USART1;
  huart1.Init.BaudRate = 9600;
  huart1.Init.WordLength = UART_WORDLENGTH_8B;
  huart1.Init.StopBits = UART_STOPBITS_1;
  huart1.Init.Parity = UART_PARITY_NONE;
  huart1.Init.Mode = UART_MODE_TX_RX;
  huart1.Init.HwFlowCtl = UART_HWCONTROL_NONE;
  huart1.Init.OverSampling = UART_OVERSAMPLING_16;
  if (HAL_UART_Init(&huart1) != HAL_OK)
  {
    Error_Handler();
  }

}

static void MX_DMA_Init(void)
{

  /* DMA controller clock enable */
  __HAL_RCC_DMA2_CLK_ENABLE();

  /* DMA interrupt init */
  /* DMA2_Stream0_IRQn interrupt configuration */
  HAL_NVIC_SetPriority(DMA2_Stream0_IRQn, 0, 0);
  HAL_NVIC_EnableIRQ(DMA2_Stream0_IRQn);
  /* DMA2_Stream1_IRQn interrupt configuration */
  HAL_NVIC_SetPriority(DMA2_Stream1_IRQn, 0, 0);
  HAL_NVIC_EnableIRQ(DMA2_Stream1_IRQn);
  /* DMA2_Stream2_IRQn interrupt configuration */
  HAL_NVIC_SetPriority(DMA2_Stream2_IRQn, 0, 0);
  HAL_NVIC_EnableIRQ(DMA2_Stream2_IRQn);

}

static void MX_GPIO_Init(void)
{
  GPIO_InitTypeDef GPIO_InitStruct = {0};

  /* GPIO Ports Clock Enable */
  __HAL_RCC_GPIOH_CLK_ENABLE();
  __HAL_RCC_GPIOC_CLK_ENABLE();
  __HAL_RCC_GPIOB_CLK_ENABLE();
  __HAL_RCC_GPIOA_CLK_ENABLE();

  /*Configure GPIO pin Output Level */
  HAL_GPIO_WritePin(GPIOA, GPIO_PIN_11, GPIO_PIN_RESET);

  /*Configure GPIO pin : PA11 */
  GPIO_InitStruct.Pin = GPIO_PIN_11;
  GPIO_InitStruct.Mode = GPIO_MODE_OUTPUT_PP;
  GPIO_InitStruct.Pull = GPIO_NOPULL;
  GPIO_InitStruct.Speed = GPIO_SPEED_FREQ_LOW;
  HAL_GPIO_Init(GPIOA, &GPIO_InitStruct);

  /*Configure GPIO pins : PC10 PC11 PC12 */
  GPIO_InitStruct.Pin = GPIO_PIN_10|GPIO_PIN_11|GPIO_PIN_12;
  GPIO_InitStruct.Mode = GPIO_MODE_INPUT;
  GPIO_InitStruct.Pull = GPIO_NOPULL;
  HAL_GPIO_Init(GPIOC, &GPIO_InitStruct);

}

void Error_Handler(void)
{
	__disable_irq();
	while (1)
	{
	}
}
